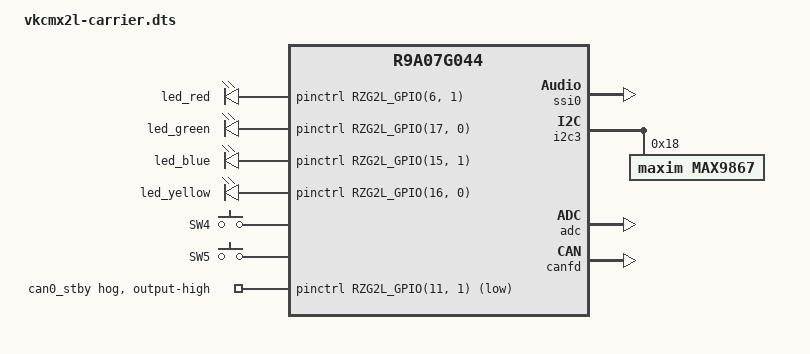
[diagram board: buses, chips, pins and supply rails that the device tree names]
/*
 * Copyright 2023 Vekatech
 *
 * This program is free software; you can redistribute it and/or
 * modify it under the terms of the GNU General Public License
 * as published by the Free Software Foundation; either version 2
 * of the License, or (at your option) any later version.
 *
 * This program is distributed in the hope that it will be useful,
 * but WITHOUT ANY WARRANTY; without even the implied warranty of
 * MERCHANTABILITY or FITNESS FOR A PARTICULAR PURPOSE. See the
 * GNU General Public License for more details.
 */

#include <dt-bindings/interrupt-controller/arm-gic.h>
#include <dt-bindings/pinctrl/rzg2l-pinctrl.h>
#include <dt-bindings/gpio/gpio.h>
#include <dt-bindings/leds/common.h>
#include <dt-bindings/interrupt-controller/irq.h>
#include <dt-bindings/input/input.h>

/dts-v1/;
/plugin/;


#define AUDIO	1
#define CANFD	1
#define RS485	0
#define RS485_ON_OFF 0
#define ADC	1


/{
	compatible = "vekatech,vkcmg2l", 
	             "renesas,r9a07g044l2", 
		     "renesas,r9a07g044";
};

&{/} {
	leds {
		compatible = "gpio-leds";
		pinctrl-names = "default";

		led_red {
			gpios = <&pinctrl RZG2L_GPIO(6, 1) GPIO_ACTIVE_HIGH>;
			default-state = "off";
		};

		led_green {
			gpios = <&pinctrl RZG2L_GPIO(17, 0) GPIO_ACTIVE_HIGH>;
			default-state = "off";
		};

		led_blue {
			gpios = <&pinctrl RZG2L_GPIO(15, 1) GPIO_ACTIVE_HIGH>;
			default-state = "on";
			linux,default-trigger = "heartbeat";
		};

		led_yellow {
			gpios = <&pinctrl RZG2L_GPIO(16, 0) GPIO_ACTIVE_HIGH>;
			default-state = "off";
		};
	};

	keys {
		compatible = "gpio-keys";
		user_key_1 {
			label = "SW4";
			linux,code = <KEY_1>;
			debounce-interval = <20>;
			interrupt-parent = <&pinctrl>;
			interrupts = <RZG2L_GPIO(3, 0) IRQ_TYPE_LEVEL_LOW>;
		};

		user_key_2 {
			label = "SW5";
			linux,code = <KEY_2>;
			debounce-interval = <20>;
			interrupt-parent = <&pinctrl>;
			interrupts = <RZG2L_GPIO(3, 1) IRQ_TYPE_LEVEL_LOW>;
		};
	};
};

#if AUDIO
/* Audio */
&{/} {
	sound_codec: sound-max9867 {
		compatible = "simple-audio-card";
		simple-audio-card,name = "audio-max9867";
		simple-audio-card,format = "i2s";
		simple-audio-card,bitclock-master = <&cpu_dai>;
		simple-audio-card,frame-master = <&cpu_dai>;
		status = "okay";

		simple-audio-card,mclk-fs = <256>;

		simple-audio-card,widgets =
			"Headphone", "Headset Headphone",
			"Microphone", "Headset Microphone";

		simple-audio-card,routing =
			"Headset Headphone", "LOUT",
			"Headset Headphone", "ROUT",
			"MICL", "Headset Microphone";

		cpu_dai: simple-audio-card,cpu {
			sound-dai = <&ssi0>;
		};

		codec_dai: simple-audio-card,codec {
			sound-dai = <&max9867>;
			clocks = <&audio_mclock>;
			system-clock-fixed;
		};
	};
};

&ssi0 {
	pinctrl-0 = <&ssi0_pins>;
	pinctrl-names = "default";
	status = "okay";
};

&i2c3 {
	/* MAX9867 Codec */
	max9867: codec@18 {
		compatible = "maxim,max9867";
		#sound-dai-cells = <0>;
		reg = <0x18>;
		clocks = <&audio_mclock>;
		clock-names = "mclk";
		status = "okay";
	};
};

&pinctrl {
	ssi0_pins: ssi0 {
		pinmux = <RZG2L_PORT_PINMUX(45, 0, 1)>, /* BCK */
			 <RZG2L_PORT_PINMUX(45, 1, 1)>, /* RCK */
			 <RZG2L_PORT_PINMUX(45, 2, 1)>, /* TXD */
			 <RZG2L_PORT_PINMUX(45, 3, 1)>; /* RXD */
	};
};

#endif

#if RS485
/* RS-485 */

#if RS485_ON_OFF

&{/} {
    /* DC-DC */
    reg_rs485_iso: regulator-rs485-iso {
        compatible = "regulator-fixed";
        regulator-name = "rs485-isolated-vcc";
        
        /* DC-DC enable GPIO 48_2 */
        gpio = <&pinctrl RZG2L_GPIO(48, 2) GPIO_ACTIVE_HIGH>;
        enable-active-high;

	startup-delay-us = <50000>;
    };
};

#else

&pinctrl {
    scif2_iso_pwr_pins: scif2-iso-pwr {
        pinmux = <RZG2L_PORT_PINMUX(48, 2, 0)>; /* GPIO */
    };

    scif2-iso-pwr-hog {
        gpio-hog;
        gpios = <RZG2L_GPIO(48, 2) GPIO_ACTIVE_HIGH>; 
        output-high;                   /* Set logic 1 */
        line-name = "rs485-iso-pwr-en";
    };

#endif

&scif2 {
	pinctrl-names = "default";
	pinctrl-0 = <&scif2_pins>, <&scif2_rs485_de>;
	status = "okay";

	#if RS485_ON_OFF
	vcc-supply = <&reg_rs485_iso>;
	#endif

	rts-gpios = <&pinctrl RZG2L_GPIO( 48, 3) GPIO_ACTIVE_HIGH>;
	linux,rs485-enabled-at-boot-time;
	/* rs485-rts-delay = <1 1>; */ /* [delay before TX] [delay after TX] */
};

&pinctrl {
	scif2_pins: scif2 {
		pinmux = <RZG2L_PORT_PINMUX(48, 0, 1)>, /* TxD */
			 <RZG2L_PORT_PINMUX(48, 1, 1)>; /* RxD */
	};

	scif2_rs485_de: scif2-rs485-de {
		pinmux = <RZG2L_PORT_PINMUX(48, 3, 0)>; /* GPIO */
	};
};

#endif


#if ADC
/* ADC */
&adc {
	pinctrl-0 = <&adc_pins>;
	pinctrl-names = "default";
	status = "okay";

	/delete-node/ channel@6;
	/delete-node/ channel@7;
};

&pinctrl {
	adc_pins: adc {
		pinmux = <RZG2L_PORT_PINMUX(9, 0, 2)>; /* ADC_TRG */
	};
};
#endif

#if CANFD
/* CANFD  */
&canfd {
	pinctrl-0 = <&can0_pins>;
	pinctrl-names = "default";
	status = "okay";

	/*renesas,no-can-fd;*/

	channel0 {
		renesas,channel = <0>;
		status = "okay";
	};
};

&pinctrl {
	can0_stby {
		gpio-hog;
		gpios = <RZG2L_GPIO(11, 1) GPIO_ACTIVE_LOW>;
		output-high;
		line-name = "can0_stby";
	};

	can0_pins: can0 {
		pinmux = <RZG2L_PORT_PINMUX(10, 1, 2)>, /* TX */
			 <RZG2L_PORT_PINMUX(11, 0, 2)>; /* RX */
	};
};

#endif


